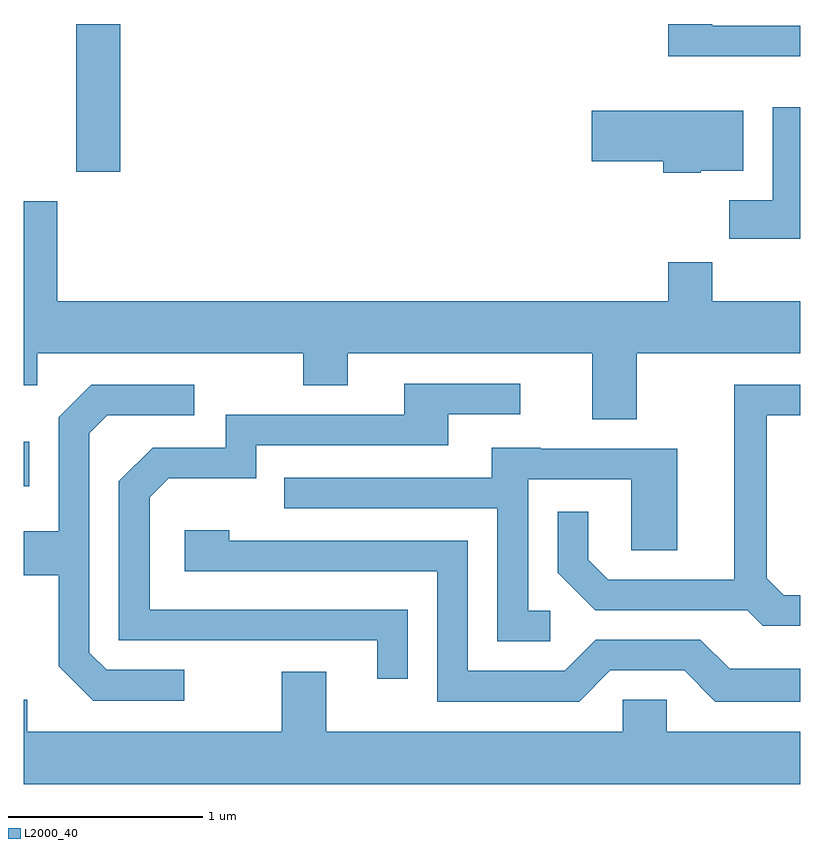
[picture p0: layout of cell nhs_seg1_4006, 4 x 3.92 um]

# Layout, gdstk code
import gdstk
lib = gdstk.Library(unit=1e-6, precision=1e-09)
def R(c, l, rs):  # rectangles x0, y0, x1, y1
    for r in rs: c.add(gdstk.rectangle(r[:2], r[2:], *l))
def P(c, l, *ps):  # polygons
    for p in ps: c.add(gdstk.Polygon(p, *l))
L2000_40 = (2000, 40)

nhs_seg1_4006 = lib.new_cell('nhs_seg1_4006')
R(nhs_seg1_4006, L2000_40, [(305.611,903.331,305.639,903.559), (305.881,904.951,306.109,905.712)])
P(nhs_seg1_4006, L2000_40, [(309.611,905.704),(309.159,905.704),(309.159,905.712),(308.931,905.712),(308.931,905.546),(309.611,905.546)],
  [(309.611,905.284),(309.471,905.284),(309.471,904.804),(309.246,904.804),(309.246,904.606),(309.611,904.606)],
  [(309.1,904.956),(309.319,904.956),(309.319,905.264),(308.536,905.264),(308.536,905.006),(308.906,905.006),(308.906,904.946),(309.1,904.946)],
  [(308.769,904.016),(309.611,904.016),(309.611,904.284),(309.159,904.284),(309.159,904.484),(308.931,904.484),(308.931,904.284),(305.784,904.284),(305.784,904.799),(305.611,904.799),(305.611,903.851),(305.679,903.851),(305.679,904.016),(307.051,904.016),(307.051,903.851),(307.279,903.851),(307.279,904.016),(308.541,904.016),(308.541,903.676),(308.769,903.676)],
  [(307.589,902.694),(306.259,902.694),(306.259,903.274),(306.357,903.371),(306.809,903.371),(306.809,903.541),(307.799,903.541),(307.799,903.701),(308.168,903.701),(308.168,903.859),(307.571,903.859),(307.571,903.699),(306.651,903.699),(306.651,903.529),(306.274,903.529),(306.101,903.357),(306.101,902.536),(307.431,902.536),(307.431,902.338),(307.589,902.338)],
  [(306.438,902.384),(306.037,902.384),(305.949,902.472),(305.949,903.604),(306.042,903.696),(306.488,903.696),(306.488,903.854),(305.959,903.854),(305.791,903.687),(305.791,903.099),(305.611,903.099),(305.611,902.871),(305.791,902.871),(305.791,902.404),(305.969,902.226),(306.438,902.226)],
  [(309.611,902.769),(309.527,902.769),(309.439,902.857),(309.439,903.696),(309.611,903.696),(309.611,903.854),(309.271,903.854),(309.271,902.849),(308.622,902.849),(308.519,902.952),(308.519,903.198),(308.361,903.198),(308.361,902.884),(308.554,902.691),(309.339,902.691),(309.419,902.611),(309.611,902.611)],
  [(308.323,902.689),(308.209,902.689),(308.209,903.366),(308.741,903.366),(308.741,903.001),(308.979,903.001),(308.979,903.524),(308.275,903.524),(308.275,903.529),(308.021,903.529),(308.021,903.374),(306.953,903.374),(306.953,903.216),(308.051,903.216),(308.051,902.531),(308.323,902.531)],
  [(308.632,902.381),(309.014,902.381),(309.174,902.221),(309.611,902.221),(309.611,902.389),(309.247,902.389),(309.097,902.539),(308.559,902.539),(308.399,902.379),(307.899,902.379),(307.899,903.049),(306.669,903.049),(306.669,903.104),(306.441,903.104),(306.441,902.891),(307.741,902.891),(307.741,902.221),(308.472,902.221)],
  [(309.611,902.064),(308.924,902.064),(308.924,902.229),(308.696,902.229),(308.696,902.064),(307.169,902.064),(307.169,902.374),(306.941,902.374),(306.941,902.064),(305.629,902.064),(305.629,902.229),(305.611,902.229),(305.611,901.796),(309.611,901.796)])

lib.write_gds('nhs_seg1_4006.gds')
